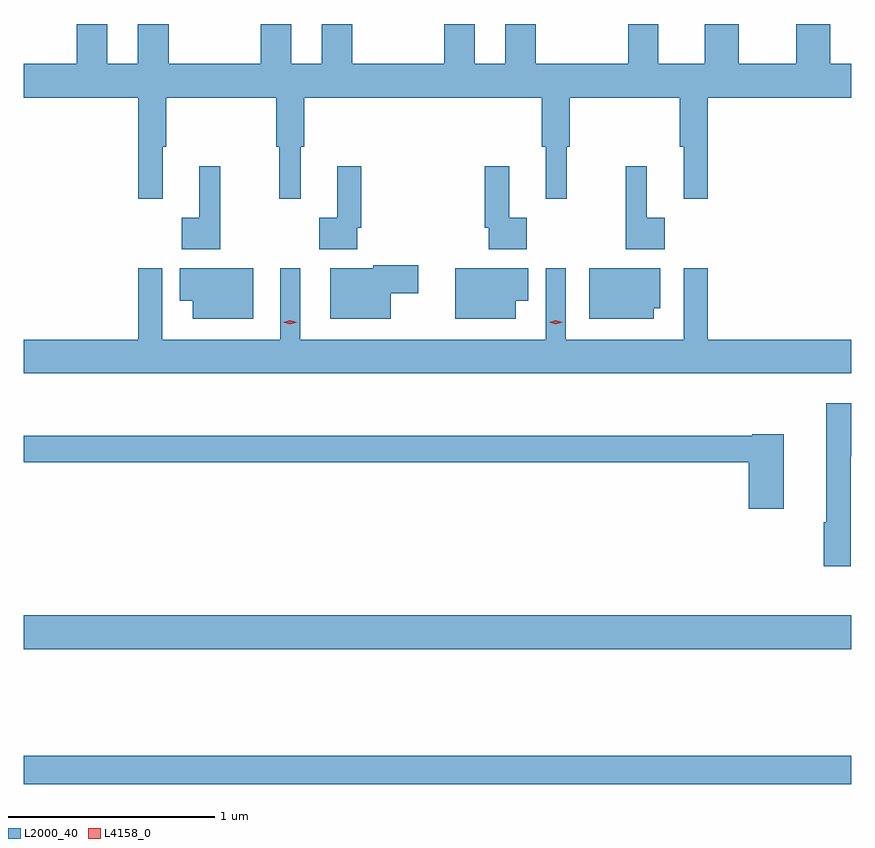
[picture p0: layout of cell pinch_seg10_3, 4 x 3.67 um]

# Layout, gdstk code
import gdstk
lib = gdstk.Library(unit=1e-6, precision=1e-09)
def R(c, l, rs):  # rectangles x0, y0, x1, y1
    for r in rs: c.add(gdstk.rectangle(r[:2], r[2:], *l))
def P(c, l, *ps):  # polygons
    for p in ps: c.add(gdstk.Polygon(p, *l))
L2000_40 = (2000, 40)
L4158_0 = (4158, 0)

pinch_seg10_3 = lib.new_cell('pinch_seg10_3')
R(pinch_seg10_3, L2000_40, [(1118.981,1259.704,1122.981,1259.84), (1118.981,1260.356,1122.981,1260.52)])
P(pinch_seg10_3, L2000_40, [(1122.981,1263.184),(1122.88,1263.184),(1122.88,1263.377),(1122.716,1263.377),(1122.716,1263.184),(1122.436,1263.184),(1122.436,1263.377),(1122.272,1263.377),(1122.272,1263.184),(1122.049,1263.184),(1122.049,1263.377),(1121.902,1263.377),(1121.902,1263.184),(1121.457,1263.184),(1121.457,1263.377),(1121.309,1263.377),(1121.309,1263.184),(1121.161,1263.184),(1121.161,1263.377),(1121.014,1263.377),(1121.014,1263.184),(1120.569,1263.184),(1120.569,1263.377),(1120.421,1263.377),(1120.421,1263.184),(1120.273,1263.184),(1120.273,1263.377),(1120.126,1263.377),(1120.126,1263.184),(1119.681,1263.184),(1119.681,1263.377),(1119.533,1263.377),(1119.533,1263.184),(1119.385,1263.184),(1119.385,1263.377),(1119.238,1263.377),(1119.238,1263.184),(1118.981,1263.184),(1118.981,1263.02),(1119.535,1263.02),(1119.535,1262.532),(1119.653,1262.532),(1119.653,1262.784),(1119.671,1262.784),(1119.671,1263.02),(1120.201,1263.02),(1120.201,1262.784),(1120.216,1262.784),(1120.216,1262.532),(1120.319,1262.532),(1120.319,1262.784),(1120.337,1262.784),(1120.337,1263.02),(1121.485,1263.02),(1121.485,1262.784),(1121.504,1262.784),(1121.504,1262.532),(1121.606,1262.532),(1121.606,1262.784),(1121.621,1262.784),(1121.621,1263.02),(1122.151,1263.02),(1122.151,1262.784),(1122.17,1262.784),(1122.17,1262.532),(1122.287,1262.532),(1122.287,1263.02),(1122.981,1263.02)],
  [(1120.593,1262.392),(1120.613,1262.392),(1120.613,1262.689),(1120.496,1262.689),(1120.496,1262.441),(1120.41,1262.441),(1120.41,1262.288),(1120.593,1262.288)],
  [(1122.079,1262.441),(1121.993,1262.441),(1121.993,1262.689),(1121.89,1262.689),(1121.89,1262.288),(1122.079,1262.288)],
  [(1121.413,1262.441),(1121.327,1262.441),(1121.327,1262.689),(1121.209,1262.689),(1121.209,1262.392),(1121.229,1262.392),(1121.229,1262.288),(1121.413,1262.288)],
  [(1119.932,1262.689),(1119.83,1262.689),(1119.83,1262.441),(1119.744,1262.441),(1119.744,1262.288),(1119.932,1262.288)],
  [(1120.756,1262.075),(1120.888,1262.075),(1120.888,1262.21),(1120.671,1262.21),(1120.671,1262.197),(1120.463,1262.197),(1120.463,1261.952),(1120.756,1261.952)],
  [(1121.359,1262.039),(1121.42,1262.039),(1121.42,1262.197),(1121.066,1262.197),(1121.066,1261.952),(1121.359,1261.952)],
  [(1121.505,1262.197),(1121.505,1261.852),(1120.318,1261.852),(1120.318,1262.197),(1120.22,1262.197),(1120.22,1261.852),(1119.651,1261.852),(1119.651,1262.197),(1119.535,1262.197),(1119.535,1261.852),(1118.981,1261.852),(1118.981,1261.688),(1122.981,1261.688),(1122.981,1261.852),(1122.287,1261.852),(1122.287,1262.197),(1122.171,1262.197),(1122.171,1261.852),(1121.601,1261.852),(1121.601,1262.197)],
  [(1122.025,1262.003),(1122.058,1262.003),(1122.058,1262.197),(1121.714,1262.197),(1121.714,1261.952),(1122.025,1261.952)],
  [(1120.09,1262.197),(1119.736,1262.197),(1119.736,1262.039),(1119.797,1262.039),(1119.797,1261.952),(1120.09,1261.952)],
  [(1122.979,1261.287),(1122.981,1261.287),(1122.981,1261.543),(1122.86,1261.543),(1122.86,1260.968),(1122.848,1260.968),(1122.848,1260.756),(1122.979,1260.756)],
  [(1122.655,1261.395),(1122.501,1261.395),(1122.501,1261.387),(1118.981,1261.387),(1118.981,1261.258),(1122.485,1261.258),(1122.485,1261.035),(1122.655,1261.035)])
P(pinch_seg10_3, L4158_0, [(1121.553,1261.925),(1121.52,1261.935),(1121.52,1261.935),(1121.52,1261.935),(1121.553,1261.945),(1121.587,1261.935),(1121.587,1261.935),(1121.587,1261.935)],
  [(1120.269,1261.925),(1120.234,1261.935),(1120.234,1261.935),(1120.234,1261.935),(1120.269,1261.945),(1120.304,1261.935),(1120.304,1261.935),(1120.304,1261.935)])

lib.write_gds('pinch_seg10_3.gds')
